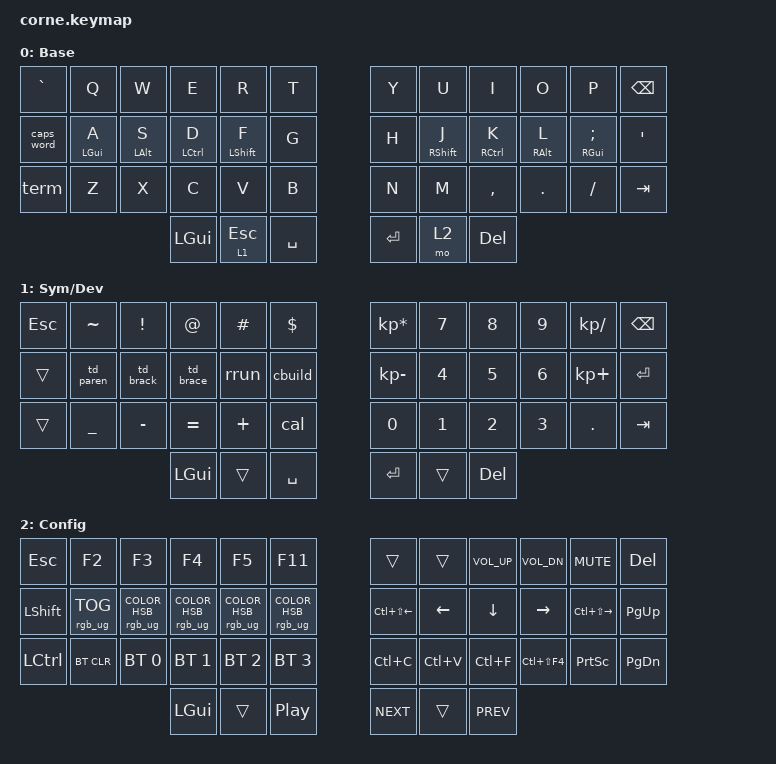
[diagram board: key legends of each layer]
/*
 * Optimized Corne Keymap for Robotics & Keyboard Design
 * - Homerow Mods integrados (A, S, D, F / J, K, L, ;)
 * - Teclas físicas redundantes convertidas en herramientas de productividad
 */

#include <behaviors.dtsi>
#include <dt-bindings/zmk/bt.h>
#include <dt-bindings/zmk/keys.h>
#include <dt-bindings/zmk/rgb.h>

/* ─── Configuración global de hold-tap ─── */
&mt {
    flavor = "tap-preferred";
    tapping-term-ms = <200>;
    quick-tap-ms = <125>;
    require-prior-idle-ms = <100>;
};

&led_strip { chain-length = <27>; };

/ {
    macros {
        /* Macro para abrir terminal en Ubuntu */
        term: term {
            compatible = "zmk,behavior-macro";
            #binding-cells = <0>;
            bindings = <&kp LC(LA(T))>;
            label = "TERMINAL";
        };

        /* Macros de utilidad para ROS2 */
        cbuild: cbuild {
            compatible = "zmk,behavior-macro";
            #binding-cells = <0>;
            bindings = <&kp C &kp O &kp L &kp C &kp O &kp N &kp SPACE &kp B &kp U &kp I &kp L &kp D &kp ENTER>;
            label = "COLCON_BUILD";
        };

        rrun: rrun {
            compatible = "zmk,behavior-macro";
            #binding-cells = <0>;
            bindings = <&kp R &kp O &kp S &kp N2 &kp SPACE &kp R &kp U &kp N &kp SPACE>;
            label = "ROS2_RUN";
        };

        cal: cal {
            compatible = "zmk,behavior-macro";
            #binding-cells = <0>;
            bindings = <&kp FSLH &kp C &kp A &kp L &kp I &kp F &kp I &kp C &kp A &kp C &kp I &kp O &kp N>;
            label = "CAL";
        };

        /* Símbolos de apertura/cierre (Mantenidos de tu config original) */
        m_paren_o: m_paren_o { compatible="zmk,behavior-macro"; #binding-cells=<0>; bindings=<&kp LPAR>; label="M_PAREN_O"; };
        m_paren_c: m_paren_c { compatible="zmk,behavior-macro"; #binding-cells=<0>; bindings=<&kp RPAR>; label="M_PAREN_C"; };
        m_brack_o: m_brack_o { compatible="zmk,behavior-macro"; #binding-cells=<0>; bindings=<&kp LBKT>; label="M_BRACK_O"; };
        m_brack_c: m_brack_c { compatible="zmk,behavior-macro"; #binding-cells=<0>; bindings=<&kp RBKT>; label="M_BRACK_C"; };
        m_brace_o: m_brace_o { compatible="zmk,behavior-macro"; #binding-cells=<0>; bindings=<&kp LBRC>; label="M_BRACE_O"; };
        m_brace_c: m_brace_c { compatible="zmk,behavior-macro"; #binding-cells=<0>; bindings=<&kp RBRC>; label="M_BRACE_C"; };
    };

    behaviors {
        td_paren: td_paren { compatible = "zmk,behavior-tap-dance"; #binding-cells = <0>; tapping-term-ms = <200>; bindings = <&m_paren_o>, <&m_paren_c>; };
        td_brack: td_brack { compatible = "zmk,behavior-tap-dance"; #binding-cells = <0>; tapping-term-ms = <200>; bindings = <&m_brack_o>, <&m_brack_c>; };
        td_brace: td_brace { compatible = "zmk,behavior-tap-dance"; #binding-cells = <0>; tapping-term-ms = <200>; bindings = <&m_brace_o>, <&m_brace_c>; };
    };

    keymap {
        compatible = "zmk,keymap";

        default_layer {
            display-name = "Base";
            bindings = <
&kp GRAVE      &kp Q          &kp W          &kp E           &kp R           &kp T         &kp Y      &kp U           &kp I           &kp O          &kp P          &kp BSPC
&caps_word     &mt LGUI A     &mt LALT S     &mt LCTRL D     &mt LSHIFT F    &kp G         &kp H      &mt RSHIFT J    &mt RCTRL K     &mt RALT L     &mt RGUI SEMI  &kp SQT
&term          &kp Z          &kp X          &kp C           &kp V           &kp B         &kp N      &kp M           &kp COMMA       &kp DOT        &kp FSLH       &kp TAB
                                             &kp LGUI        &lt 1 ESC       &kp SPACE     &kp ENTER  &mo 2           &kp DELETE
            >;
        };

        lower_layer {
            display-name = "Sym/Dev";
            bindings = <
&kp ESC     &kp TILDE   &kp EXCL     &kp AT       &kp HASH      &kp DOLLAR      &kp KP_MULTIPLY  &kp N7   &kp N8  &kp N9  &kp KP_SLASH   &kp BSPC
&trans      &td_paren   &td_brack    &td_brace     &rrun         &cbuild         &kp KP_MINUS     &kp N4   &kp N5  &kp N6  &kp KP_PLUS    &kp ENTER
&trans      &kp UNDER   &kp MINUS    &kp EQUAL     &kp PLUS      &cal            &kp N0           &kp N1   &kp N2  &kp N3  &kp DOT        &kp TAB
                                     &kp LGUI      &trans        &kp SPACE       &kp ENTER        &trans   &kp DELETE
            >;
        };

        raise_layer {
            display-name = "Config";
            bindings = <
&kp ESC        &kp F2           &kp F3                           &kp F4                            &kp F5                            &kp F11                              &trans            &trans          &kp C_VOL_UP   &kp C_VOL_DN   &kp C_MUTE         &kp DELETE
&kp LSHIFT     &rgb_ug RGB_TOG  &rgb_ug RGB_COLOR_HSB(46,0,40)   &rgb_ug RGB_COLOR_HSB(42,42,35)   &rgb_ug RGB_COLOR_HSB(200,100,50)  &rgb_ug RGB_COLOR_HSB(116,100,50)    &kp LC(LS(LEFT))  &kp LEFT        &kp DOWN       &kp RIGHT      &kp LC(LS(RIGHT))  &kp PG_UP
&kp LCTRL      &bt BT_CLR       &bt BT_SEL 0                     &bt BT_SEL 1                      &bt BT_SEL 2                       &bt BT_SEL 3                         &kp LC(C)         &kp LC(V)       &kp LC(F)      &kp LC(LS(F4)) &kp PSCRN          &kp PG_DN
                                                                 &kp LGUI                          &trans                             &kp C_PP                             &kp C_NEXT        &trans          &kp C_PREV
            >;
        };
    };
};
